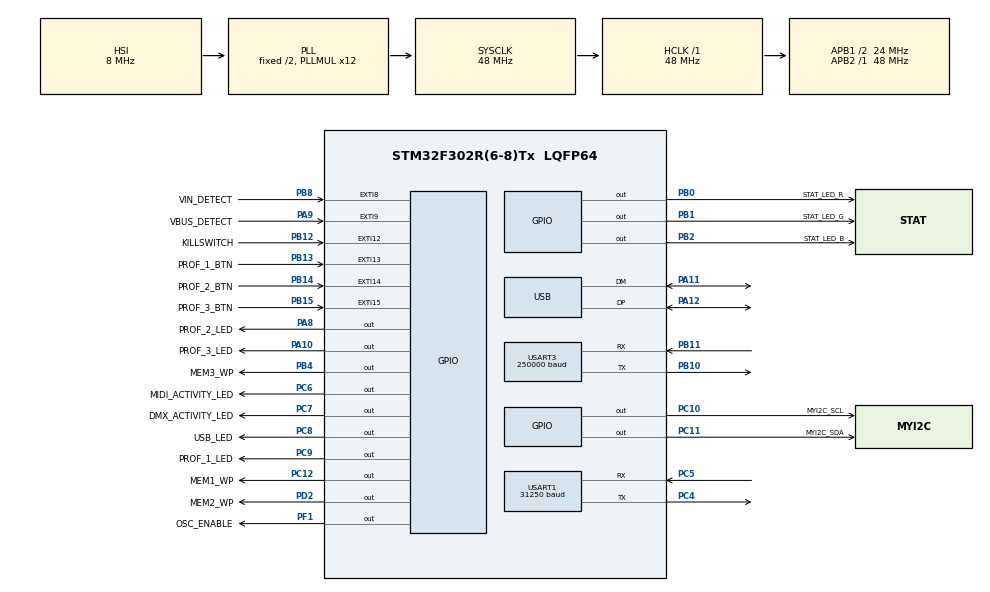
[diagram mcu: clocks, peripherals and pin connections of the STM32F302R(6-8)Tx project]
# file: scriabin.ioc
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Dma.Request0=USART3_TX
Dma.USART3_TX.0.Direction=DMA_MEMORY_TO_PERIPH
Dma.USART3_TX.0.Instance=DMA1_Channel2
Dma.USART3_TX.0.MemDataAlignment=DMA_MDATAALIGN_BYTE
Dma.USART3_TX.0.MemInc=DMA_MINC_ENABLE
Dma.USART3_TX.0.Mode=DMA_NORMAL
Dma.USART3_TX.0.PeriphDataAlignment=DMA_PDATAALIGN_BYTE
Dma.USART3_TX.0.PeriphInc=DMA_PINC_DISABLE
Dma.USART3_TX.0.Priority=DMA_PRIORITY_LOW
Mcu.Family=STM32F3
Mcu.Name=STM32F302R(6-8)Tx
Mcu.Package=LQFP64
NVIC.DMA1_Channel2_IRQn=true\:12\:0\:true\:false\:true\:false\:true\:true
NVIC.EXTI15_10_IRQn=true\:0\:0\:false\:false\:true\:true\:true\:true
NVIC.PriorityGroup=NVIC_PRIORITYGROUP_4
NVIC.TIM1_TRG_COM_TIM17_IRQn=true\:0\:0\:false\:false\:true\:true\:true\:true
NVIC.TIM1_UP_TIM16_IRQn=true\:15\:0\:true\:false\:true\:true\:true\:true
NVIC.USART1_IRQn=true\:0\:0\:false\:false\:true\:true\:true\:true
NVIC.USART3_IRQn=true\:0\:0\:true\:false\:true\:true\:true\:true
NVIC.USB_HP_CAN_TX_IRQn=true\:0\:0\:false\:false\:true\:true\:true\:true
NVIC.USB_LP_CAN_RX0_IRQn=true\:0\:0\:false\:false\:true\:false\:true\:true
PA10.GPIO_Label=PROF_3_LED
PA10.Signal=GPIO_Output
PA11.Mode=Device
PA11.Signal=USB_DM
PA12.Mode=Device
PA12.Signal=USB_DP
PA13.GPIO_Label=TMS
PA13.Mode=Serial_Wire
PA13.Signal=SYS_JTMS-SWDIO
PA14.GPIO_Label=TCK
PA14.Mode=Serial_Wire
PA14.Signal=SYS_JTCK-SWCLK
PA2.GPIO_Mode=GPIO_MODE_AF_PP
PA2.GPIO_PuPd=GPIO_NOPULL
PA2.GPIO_Speed=GPIO_SPEED_FREQ_HIGH
PA2.Signal=USART2_TX
PA3.GPIO_Mode=GPIO_MODE_AF_PP
PA3.GPIO_PuPd=GPIO_NOPULL
PA3.GPIO_Speed=GPIO_SPEED_FREQ_HIGH
PA3.Signal=USART2_RX
PA8.GPIO_Label=PROF_2_LED
PA8.Signal=GPIO_Output
PA9.GPIO_Label=VBUS_DETECT
PA9.GPIO_ModeDefaultEXTI=GPIO_MODE_IT_RISING_FALLING
PA9.Signal=GPXTI9
PB0.GPIO_Label=STAT_LED_R
PB0.PinState=GPIO_PIN_SET
PB0.Signal=GPIO_Output
PB1.GPIO_Label=STAT_LED_G
PB1.PinState=GPIO_PIN_SET
PB1.Signal=GPIO_Output
PB10.GPIO_ModeDefaultPP=GPIO_MODE_AF_PP
PB10.Mode=Asynchronous
PB10.Signal=USART3_TX
PB11.Mode=Asynchronous
PB11.Signal=USART3_RX
PB12.GPIO_Label=KILLSWITCH
PB12.GPIO_ModeDefaultEXTI=GPIO_MODE_IT_RISING_FALLING
PB12.Signal=GPXTI12
PB13.GPIO_Label=PROF_1_BTN
PB13.Signal=GPXTI13
PB14.GPIO_Label=PROF_2_BTN
PB14.Signal=GPXTI14
PB15.GPIO_Label=PROF_3_BTN
PB15.Signal=GPXTI15
PB2.GPIO_Label=STAT_LED_B
PB2.PinState=GPIO_PIN_SET
PB2.Signal=GPIO_Output
PB3.GPIO_Label=SWO
PB3.Mode=Trace_Asynchronous_SW
PB3.Signal=SYS_JTDO-TRACESWO
PB4.GPIO_Label=MEM3_WP
PB4.Signal=GPIO_Output
PB8.GPIO_Label=VIN_DETECT
PB8.Signal=GPXTI8
PC10.GPIO_Label=MYI2C_SCL
PC10.GPIO_ModeDefaultOutputPP=GPIO_MODE_OUTPUT_OD
PC10.GPIO_PuPd=GPIO_PULLUP
PC10.GPIO_Speed=GPIO_SPEED_FREQ_HIGH
PC10.Signal=GPIO_Output
PC11.GPIO_Label=MYI2C_SDA
PC11.GPIO_ModeDefaultOutputPP=GPIO_MODE_OUTPUT_OD
PC11.GPIO_PuPd=GPIO_PULLUP
PC11.GPIO_Speed=GPIO_SPEED_FREQ_HIGH
PC11.Signal=GPIO_Output
PC12.GPIO_Label=MEM1_WP
PC12.Signal=GPIO_Output
PC14\ -\ OSC32_IN.Signal=RCC_OSC32_IN
PC15\ -\ OSC32_OUT.Signal=RCC_OSC32_OUT
PC4.Mode=Asynchronous
PC4.Signal=USART1_TX
PC5.Mode=Asynchronous
PC5.Signal=USART1_RX
PC6.GPIO_Label=MIDI_ACTIVITY_LED
PC6.Signal=GPIO_Output
PC7.GPIO_Label=DMX_ACTIVITY_LED
PC7.Signal=GPIO_Output
PC8.GPIO_Label=USB_LED
PC8.Signal=GPIO_Output
PC9.GPIO_Label=PROF_1_LED
PC9.Signal=GPIO_Output
PD2.GPIO_Label=MEM2_WP
PD2.Signal=GPIO_Output
PF0-OSC_IN.Signal=RCC_OSC_IN
PF1-OSC_OUT.GPIO_Label=OSC_ENABLE
PF1-OSC_OUT.PinState=GPIO_PIN_SET
PF1-OSC_OUT.Signal=GPIO_Output
ProjectManager.HeapSize=0x200
ProjectManager.StackSize=0x400
ProjectManager.TargetToolchain=STM32CubeIDE
RCC.AHBFreq_Value=48000000
RCC.APB1CLKDivider=RCC_HCLK_DIV2
RCC.APB1Freq_Value=24000000
RCC.APB1TimFreq_Value=48000000
RCC.APB2Freq_Value=48000000
RCC.APB2TimFreq_Value=48000000
RCC.CortexFreq_Value=48000000
RCC.HCLKFreq_Value=48000000
RCC.HSE_VALUE=8000000
RCC.HSI_VALUE=8000000
RCC.LSE_VALUE=32768
RCC.PLLM=8
RCC.PLLMUL=RCC_PLL_MUL12
RCC.PLLN=336
RCC.PLLP=RCC_PLLP_DIV4
RCC.PLLQ=7
RCC.PLLSource=RCC_PLLSOURCE_HSI
RCC.PLLSourceVirtualString=RCC_PLLSOURCE_HSI
RCC.SYSCLKFreq_VALUE=48000000
RCC.SYSCLKSourceVirtual=RCC_SYSCLKSOURCE_PLLCLK
RCC.USBFreq_Value=48000000
TIM16.Prescaler=71
TIM17.Prescaler=71
USART1.BaudRate=31250
USART1.Mode=MODE_RX
USART1.OverSampling=UART_OVERSAMPLING_8
USART1.VirtualMode-Asynchronous=VM_ASYNC
USART3.BaudRate=250000
USART3.Mode=MODE_TX
USART3.OverSampling=UART_OVERSAMPLING_8
USART3.StopBits=STOPBITS_2
USART3.VirtualMode-Asynchronous=VM_ASYNC
USB_DEVICE.APP_RX_DATA_SIZE=256
USB_DEVICE.APP_TX_DATA_SIZE=256
USB_DEVICE.CLASS_NAME_FS=CDC
USB_DEVICE.MANUFACTURER_STRING=STMicroelectronics / Patrik Hajd\u00FAch
USB_DEVICE.PRODUCT_STRING_CDC_FS=Scriabin v0.1 Virtual ComPort
USB_DEVICE.VirtualMode=Cdc
USB_DEVICE.VirtualModeFS=Cdc_FS
VP_TIM16_VS_ClockSourceINT.Mode=Enable_Timer
VP_TIM17_VS_ClockSourceINT.Mode=Enable_Timer
VP_USB_DEVICE_VS_USB_DEVICE_CDC_FS.Mode=CDC_FS
board=NUCLEO-F302R8

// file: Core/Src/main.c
/* USER CODE BEGIN Header */
/**
 ******************************************************************************
 * @file           : main.c
 * @brief          : Main program body
 ******************************************************************************
 * @attention
 *
 * Copyright (c) 2025 STMicroelectronics.
 * All rights reserved.
 *
 * This software is licensed under terms that can be found in the LICENSE file
 * in the root directory of this software component.
 * If no LICENSE file comes with this software, it is provided AS-IS.
 *
 ******************************************************************************
 */
/* USER CODE END Header */
#include "main.h"

/* USER CODE BEGIN Includes */
#include "dmx.h"
#include "midi.h"
#include "mapClient.h"
#include "myI2C.h"
#include "usbd_cdc_if.h"
#include "usb_device.h"
#include "usbAppClient.h"
#include "timeoutManager.h"
/* USER CODE END Includes */

TIM_HandleTypeDef htim16;
TIM_HandleTypeDef htim17;

UART_HandleTypeDef huart1;
UART_HandleTypeDef huart3;
DMA_HandleTypeDef hdma_usart3_tx;

/* USER CODE BEGIN PV */
static mainState_t mainState;

extern USBD_CDC_HandleTypeDef husb1;

uint8_t activeProfile;

static pinStruct_t profileLedPins[N_PROFILES] = {
		{ PROF_1_LED_GPIO_Port, PROF_1_LED_Pin },
		{ PROF_2_LED_GPIO_Port, PROF_2_LED_Pin },
		{ PROF_3_LED_GPIO_Port, PROF_3_LED_Pin }
};

static uint32_t midiIndicatorTimeout;
static uint32_t dmxIndicatorTimeout;
/* USER CODE END PV */

void SystemClock_Config(void);
static void MX_GPIO_Init(void);
static void MX_DMA_Init(void);
static void MX_USART3_UART_Init(void);
static void MX_USART1_UART_Init(void);
static void MX_TIM16_Init(void);
static void MX_TIM17_Init(void);

/* USER CODE BEGIN 0 */
void midiIndicatorOn() {
	midiIndicatorTimeout = HAL_GetTick() + INDICATOR_DURATION;
	HAL_GPIO_WritePin(MIDI_ACTIVITY_LED_GPIO_Port, MIDI_ACTIVITY_LED_Pin, GPIO_PIN_SET);
}

void dmxIndicatorOn() {
	dmxIndicatorTimeout = HAL_GetTick() + INDICATOR_DURATION;
	HAL_GPIO_WritePin(DMX_ACTIVITY_LED_GPIO_Port, DMX_ACTIVITY_LED_Pin, GPIO_PIN_SET);
}

static void indicatorsTimeout() {
	if (HAL_GetTick() >= midiIndicatorTimeout) HAL_GPIO_WritePin(MIDI_ACTIVITY_LED_GPIO_Port, MIDI_ACTIVITY_LED_Pin, GPIO_PIN_RESET);
	if (HAL_GetTick() >= dmxIndicatorTimeout) HAL_GPIO_WritePin(DMX_ACTIVITY_LED_GPIO_Port, DMX_ACTIVITY_LED_Pin, GPIO_PIN_RESET);
}

void setProfile(uint8_t p) {
	activeProfile = p;
	for (uint8_t i = 0; i < N_PROFILES; i++) {
		HAL_GPIO_WritePin(profileLedPins[i].port, profileLedPins[i].pin, p == i ? GPIO_PIN_SET : GPIO_PIN_RESET);
	}
	USB_TX_Profile_Event(p);
}

void setState(mainState_t state) {
	if (mainState == state) return;
	mainState = state;
	switch (mainState) {
	case STATE_BROKEN:
		dmxOff();
		midiReceiveOff();
		HAL_GPIO_WritePin(STAT_LED_R_GPIO_Port, STAT_LED_R_Pin, GPIO_PIN_RESET);
		HAL_GPIO_WritePin(STAT_LED_G_GPIO_Port, STAT_LED_G_Pin, GPIO_PIN_SET);
		HAL_GPIO_WritePin(STAT_LED_B_GPIO_Port, STAT_LED_B_Pin, GPIO_PIN_SET);
		Error_Handler();
		break;
	case STATE_WORKING:
		HAL_GPIO_WritePin(STAT_LED_R_GPIO_Port, STAT_LED_R_Pin, GPIO_PIN_SET);
		HAL_GPIO_WritePin(STAT_LED_G_GPIO_Port, STAT_LED_G_Pin, GPIO_PIN_RESET);
		HAL_GPIO_WritePin(STAT_LED_B_GPIO_Port, STAT_LED_B_Pin, GPIO_PIN_SET);
		dmxOn();
		midiReceiveOn();
		break;
	case STATE_UPLOAD:
		dmxOff();
		midiReceiveOff();
		HAL_GPIO_WritePin(STAT_LED_R_GPIO_Port, STAT_LED_R_Pin, GPIO_PIN_SET);
		HAL_GPIO_WritePin(STAT_LED_G_GPIO_Port, STAT_LED_G_Pin, GPIO_PIN_SET);
		HAL_GPIO_WritePin(STAT_LED_B_GPIO_Port, STAT_LED_B_Pin, GPIO_PIN_RESET);
		break;
	}
}

mainState_t getState() {
	return mainState;
}

void HAL_I2C_MemRxCpltCallback(I2C_HandleTypeDef *hi2c) {
	switch (mainState) {
	case STATE_UPLOAD:
		map_Upl_MemRxCpltCallback(hi2c->State == HAL_I2C_STATE_READY ? I2C_OK : I2C_ERR);
		break;
	case STATE_WORKING:
		map_MemRxCpltCallback(hi2c->State == HAL_I2C_STATE_READY ? I2C_OK : I2C_ERR);
		break;
	default:
		break;
	}
}

void HAL_TIM_PeriodElapsedCallback(TIM_HandleTypeDef* htim) { // po vyprseni casovace
	if (htim == &htim17) myI2C_TimerElapsedCallback();
	if (htim == &htim16) dmxTimerElapsedCallback();
}

void HAL_GPIO_EXTI_Callback(uint16_t GPIO_Pin) {
	static uint32_t killswitchLastPressed = 0;
	static uint32_t profile1LastPressed = 0;
	static uint32_t profile2LastPressed = 0;
	static uint32_t profile3LastPressed = 0;
	uint32_t currentTime = HAL_GetTick();
	switch (GPIO_Pin) {
	case KILLSWITCH_Pin:
		if (killswitchLastPressed + BUTTON_DEBOUNCE_DURATION > currentTime) return;
		if ((KILLSWITCH_GPIO_Port->IDR & KILLSWITCH_Pin) == 0) {
			if (killswitchLastPressed + BUTTON_HOLD_THRESHOLD > currentTime) {
				dmxZero();
			} else {
				dmxToggleOnOff();
			}
		}
		killswitchLastPressed = currentTime;
		break;
	case PROF_1_BTN_Pin:
		if (profile1LastPressed + BUTTON_DEBOUNCE_DURATION > currentTime) return;
		profile1LastPressed = currentTime;
		setProfile(0);
		break;
	case PROF_2_BTN_Pin:
		if (profile2LastPressed + BUTTON_DEBOUNCE_DURATION > currentTime) return;
		profile2LastPressed = currentTime;
		setProfile(1);
		break;
	case PROF_3_BTN_Pin:
		if (profile3LastPressed + BUTTON_DEBOUNCE_DURATION > currentTime) return;
		profile3LastPressed = currentTime;
		setProfile(2);
	}
}

void noteOnAsyncStart(uint8_t channel, uint8_t pitch, uint8_t velocity) {
	map_EnqueueMidiHandling(activeProfile, NOTE_ON, channel, pitch, velocity);
}

void noteOffAsyncStart(uint8_t channel, uint8_t pitch, uint8_t velocity) {
	map_EnqueueMidiHandling(activeProfile, NOTE_OFF, channel, pitch, velocity);
}

void controlChangeAsyncStart(uint8_t channel, uint8_t controller, uint8_t value) {
	map_EnqueueMidiHandling(activeProfile, CONTROL_CHANGE, channel, controller, value);
}

/* USER CODE END 0 */

int main(void)
{

  /* MCU Configuration--------------------------------------------------------*/

  /* Reset of all peripherals, Initializes the Flash interface and the Systick. */
  HAL_Init();

  /* Configure the system clock */
  SystemClock_Config();

  /* Initialize all configured peripherals */
  MX_GPIO_Init();
  MX_DMA_Init();
  MX_USART3_UART_Init();
  MX_USART1_UART_Init();
  MX_TIM16_Init();
  MX_TIM17_Init();
  /* USER CODE BEGIN 2 */
	//i2cComms_init(&hi2c1);
	timeoutManagerInit();
	setProfile(0);
	mainState = STATE_WORKING;
	pinStruct_t myI2C_sdaStruct = {
		.port = MYI2C_SDA_GPIO_Port,
		.pin = MYI2C_SDA_Pin
	};
	pinStruct_t myI2C_sclStruct = {
		.port = MYI2C_SCL_GPIO_Port,
		.pin = MYI2C_SCL_Pin
	};

	myI2C_Init(myI2C_sdaStruct, myI2C_sclStruct, &htim17);
	HAL_TIM_Base_Start(&htim17);
	dmxInit(&huart3, &htim16, 512, 0x00);
#ifdef USING_IT_MIDI
	midiInit(&huart1);
#elif defined USING_DMA_MIDI
	midiInit(&huart1, &hdma_usart1_rx);
#endif
	setNoteOnHandler(noteOnAsyncStart);
	setNoteOffHandler(noteOffAsyncStart);
	setControlChangeHandler(controlChangeAsyncStart);
	map_DualVelocityQueueInit();
	MX_USB_DEVICE_Init();

	HAL_GPIO_WritePin(STAT_LED_R_GPIO_Port, STAT_LED_R_Pin, GPIO_PIN_SET);
	HAL_GPIO_WritePin(STAT_LED_G_GPIO_Port, STAT_LED_G_Pin, GPIO_PIN_RESET);
	HAL_GPIO_WritePin(STAT_LED_B_GPIO_Port, STAT_LED_B_Pin, GPIO_PIN_SET);
	midiReceiveOn();
	dmxOn();
  /* USER CODE END 2 */

  /* Infinite loop */
  /* USER CODE BEGIN WHILE */
	for (;;)
	{
		indicatorsTimeout();
		if (USB_hasUnhandledData()) USB_HandleIncoming();
		switch (mainState) {
		case STATE_WORKING:
			readMidi(); // parsovani midi zprav
			map_StepMidiHandling(); // zpracovavani midi requestu
			checkForTimeouts(); // kontrola timeoutu
			break;
		case STATE_UPLOAD:
			map_StepUpload();
			break;
		case STATE_BROKEN:
			break;
		}
	}
    /* USER CODE END WHILE */

}

void SystemClock_Config(void)
{
  RCC_OscInitTypeDef RCC_OscInitStruct = {0};
  RCC_ClkInitTypeDef RCC_ClkInitStruct = {0};
  RCC_PeriphCLKInitTypeDef PeriphClkInit = {0};

  /** Initializes the RCC Oscillators according to the specified parameters
  * in the RCC_OscInitTypeDef structure.
  */
  RCC_OscInitStruct.OscillatorType = RCC_OSCILLATORTYPE_HSI;
  RCC_OscInitStruct.HSIState = RCC_HSI_ON;
  RCC_OscInitStruct.HSICalibrationValue = RCC_HSICALIBRATION_DEFAULT;
  RCC_OscInitStruct.PLL.PLLState = RCC_PLL_ON;
  RCC_OscInitStruct.PLL.PLLSource = RCC_PLLSOURCE_HSI;
  RCC_OscInitStruct.PLL.PLLMUL = RCC_PLL_MUL12;
  if (HAL_RCC_OscConfig(&RCC_OscInitStruct) != HAL_OK)
  {
    Error_Handler();
  }

  /** Initializes the CPU, AHB and APB buses clocks
  */
  RCC_ClkInitStruct.ClockType = RCC_CLOCKTYPE_HCLK|RCC_CLOCKTYPE_SYSCLK
                              |RCC_CLOCKTYPE_PCLK1|RCC_CLOCKTYPE_PCLK2;
  RCC_ClkInitStruct.SYSCLKSource = RCC_SYSCLKSOURCE_PLLCLK;
  RCC_ClkInitStruct.AHBCLKDivider = RCC_SYSCLK_DIV1;
  RCC_ClkInitStruct.APB1CLKDivider = RCC_HCLK_DIV2;
  RCC_ClkInitStruct.APB2CLKDivider = RCC_HCLK_DIV1;

  if (HAL_RCC_ClockConfig(&RCC_ClkInitStruct, FLASH_LATENCY_1) != HAL_OK)
  {
    Error_Handler();
  }
  PeriphClkInit.PeriphClockSelection = RCC_PERIPHCLK_USB|RCC_PERIPHCLK_USART1
                              |RCC_PERIPHCLK_TIM16|RCC_PERIPHCLK_TIM17;
  PeriphClkInit.Usart1ClockSelection = RCC_USART1CLKSOURCE_PCLK1;
  PeriphClkInit.USBClockSelection = RCC_USBCLKSOURCE_PLL;
  PeriphClkInit.Tim16ClockSelection = RCC_TIM16CLK_HCLK;
  PeriphClkInit.Tim17ClockSelection = RCC_TIM17CLK_HCLK;
  if (HAL_RCCEx_PeriphCLKConfig(&PeriphClkInit) != HAL_OK)
  {
    Error_Handler();
  }
}

static void MX_TIM16_Init(void)
{

  htim16.Instance = TIM16;
  htim16.Init.Prescaler = 71;
  htim16.Init.CounterMode = TIM_COUNTERMODE_UP;
  htim16.Init.Period = 65535;
  htim16.Init.ClockDivision = TIM_CLOCKDIVISION_DIV1;
  htim16.Init.RepetitionCounter = 0;
  htim16.Init.AutoReloadPreload = TIM_AUTORELOAD_PRELOAD_DISABLE;
  if (HAL_TIM_Base_Init(&htim16) != HAL_OK)
  {
    Error_Handler();
  }

}

static void MX_TIM17_Init(void)
{

  htim17.Instance = TIM17;
  htim17.Init.Prescaler = 71;
  htim17.Init.CounterMode = TIM_COUNTERMODE_UP;
  htim17.Init.Period = 65535;
  htim17.Init.ClockDivision = TIM_CLOCKDIVISION_DIV1;
  htim17.Init.RepetitionCounter = 0;
  htim17.Init.AutoReloadPreload = TIM_AUTORELOAD_PRELOAD_DISABLE;
  if (HAL_TIM_Base_Init(&htim17) != HAL_OK)
  {
    Error_Handler();
  }

}

static void MX_USART1_UART_Init(void)
{

  huart1.Instance = USART1;
  huart1.Init.BaudRate = 31250;
  huart1.Init.WordLength = UART_WORDLENGTH_8B;
  huart1.Init.StopBits = UART_STOPBITS_1;
  huart1.Init.Parity = UART_PARITY_NONE;
  huart1.Init.Mode = UART_MODE_RX;
  huart1.Init.HwFlowCtl = UART_HWCONTROL_NONE;
  huart1.Init.OverSampling = UART_OVERSAMPLING_8;
  huart1.Init.OneBitSampling = UART_ONE_BIT_SAMPLE_DISABLE;
  huart1.AdvancedInit.AdvFeatureInit = UART_ADVFEATURE_NO_INIT;
  if (HAL_UART_Init(&huart1) != HAL_OK)
  {
    Error_Handler();
  }

}

static void MX_USART3_UART_Init(void)
{

  huart3.Instance = USART3;
  huart3.Init.BaudRate = 250000;
  huart3.Init.WordLength = UART_WORDLENGTH_8B;
  huart3.Init.StopBits = UART_STOPBITS_2;
  huart3.Init.Parity = UART_PARITY_NONE;
  huart3.Init.Mode = UART_MODE_TX;
  huart3.Init.HwFlowCtl = UART_HWCONTROL_NONE;
  huart3.Init.OverSampling = UART_OVERSAMPLING_8;
  huart3.Init.OneBitSampling = UART_ONE_BIT_SAMPLE_DISABLE;
  huart3.AdvancedInit.AdvFeatureInit = UART_ADVFEATURE_NO_INIT;
  if (HAL_UART_Init(&huart3) != HAL_OK)
  {
    Error_Handler();
  }

}

static void MX_DMA_Init(void)
{

  /* DMA controller clock enable */
  __HAL_RCC_DMA1_CLK_ENABLE();

  /* DMA interrupt init */
  /* DMA1_Channel2_IRQn interrupt configuration */
  HAL_NVIC_SetPriority(DMA1_Channel2_IRQn, 12, 0);
  HAL_NVIC_EnableIRQ(DMA1_Channel2_IRQn);

}

static void MX_GPIO_Init(void)
{
  GPIO_InitTypeDef GPIO_InitStruct = {0};

  /* GPIO Ports Clock Enable */
  __HAL_RCC_GPIOC_CLK_ENABLE();
  __HAL_RCC_GPIOF_CLK_ENABLE();
  __HAL_RCC_GPIOA_CLK_ENABLE();
  __HAL_RCC_GPIOB_CLK_ENABLE();
  __HAL_RCC_GPIOD_CLK_ENABLE();

  /*Configure GPIO pin Output Level */
  HAL_GPIO_WritePin(OSC_ENABLE_GPIO_Port, OSC_ENABLE_Pin, GPIO_PIN_SET);

  /*Configure GPIO pin Output Level */
  HAL_GPIO_WritePin(GPIOB, STAT_LED_R_Pin|STAT_LED_G_Pin|STAT_LED_B_Pin, GPIO_PIN_SET);

  /*Configure GPIO pin Output Level */
  HAL_GPIO_WritePin(GPIOC, MIDI_ACTIVITY_LED_Pin|DMX_ACTIVITY_LED_Pin|USB_LED_Pin|PROF_1_LED_Pin
                          |MYI2C_SCL_Pin|MYI2C_SDA_Pin|MEM1_WP_Pin, GPIO_PIN_RESET);

  /*Configure GPIO pin Output Level */
  HAL_GPIO_WritePin(GPIOA, PROF_2_LED_Pin|PROF_3_LED_Pin, GPIO_PIN_RESET);

  /*Configure GPIO pin Output Level */
  HAL_GPIO_WritePin(MEM2_WP_GPIO_Port, MEM2_WP_Pin, GPIO_PIN_RESET);

  /*Configure GPIO pin Output Level */
  HAL_GPIO_WritePin(MEM3_WP_GPIO_Port, MEM3_WP_Pin, GPIO_PIN_RESET);

  /*Configure GPIO pin : OSC_ENABLE_Pin */
  GPIO_InitStruct.Pin = OSC_ENABLE_Pin;
  GPIO_InitStruct.Mode = GPIO_MODE_OUTPUT_PP;
  GPIO_InitStruct.Pull = GPIO_NOPULL;
  GPIO_InitStruct.Speed = GPIO_SPEED_FREQ_LOW;
  HAL_GPIO_Init(OSC_ENABLE_GPIO_Port, &GPIO_InitStruct);

  /*Configure GPIO pins : PA2 PA3 */
  GPIO_InitStruct.Pin = GPIO_PIN_2|GPIO_PIN_3;
  GPIO_InitStruct.Mode = GPIO_MODE_AF_PP;
  GPIO_InitStruct.Pull = GPIO_NOPULL;
  GPIO_InitStruct.Speed = GPIO_SPEED_FREQ_HIGH;
  GPIO_InitStruct.Alternate = GPIO_AF7_USART2;
  HAL_GPIO_Init(GPIOA, &GPIO_InitStruct);

  /*Configure GPIO pins : STAT_LED_R_Pin STAT_LED_G_Pin STAT_LED_B_Pin MEM3_WP_Pin */
  GPIO_InitStruct.Pin = STAT_LED_R_Pin|STAT_LED_G_Pin|STAT_LED_B_Pin|MEM3_WP_Pin;
  GPIO_InitStruct.Mode = GPIO_MODE_OUTPUT_PP;
  GPIO_InitStruct.Pull = GPIO_NOPULL;
  GPIO_InitStruct.Speed = GPIO_SPEED_FREQ_LOW;
  HAL_GPIO_Init(GPIOB, &GPIO_InitStruct);

  /*Configure GPIO pin : KILLSWITCH_Pin */
  GPIO_InitStruct.Pin = KILLSWITCH_Pin;
  GPIO_InitStruct.Mode = GPIO_MODE_IT_RISING_FALLING;
  GPIO_InitStruct.Pull = GPIO_NOPULL;
  HAL_GPIO_Init(KILLSWITCH_GPIO_Port, &GPIO_InitStruct);

  /*Configure GPIO pins : PROF_1_BTN_Pin PROF_2_BTN_Pin PROF_3_BTN_Pin VIN_DETECT_Pin */
  GPIO_InitStruct.Pin = PROF_1_BTN_Pin|PROF_2_BTN_Pin|PROF_3_BTN_Pin|VIN_DETECT_Pin;
  GPIO_InitStruct.Mode = GPIO_MODE_IT_RISING;
  GPIO_InitStruct.Pull = GPIO_NOPULL;
  HAL_GPIO_Init(GPIOB, &GPIO_InitStruct);

  /*Configure GPIO pins : MIDI_ACTIVITY_LED_Pin DMX_ACTIVITY_LED_Pin USB_LED_Pin PROF_1_LED_Pin
                           MEM1_WP_Pin */
  GPIO_InitStruct.Pin = MIDI_ACTIVITY_LED_Pin|DMX_ACTIVITY_LED_Pin|USB_LED_Pin|PROF_1_LED_Pin
                          |MEM1_WP_Pin;
  GPIO_InitStruct.Mode = GPIO_MODE_OUTPUT_PP;
  GPIO_InitStruct.Pull = GPIO_NOPULL;
  GPIO_InitStruct.Speed = GPIO_SPEED_FREQ_LOW;
  HAL_GPIO_Init(GPIOC, &GPIO_InitStruct);

  /*Configure GPIO pins : PROF_2_LED_Pin PROF_3_LED_Pin */
  GPIO_InitStruct.Pin = PROF_2_LED_Pin|PROF_3_LED_Pin;
  GPIO_InitStruct.Mode = GPIO_MODE_OUTPUT_PP;
  GPIO_InitStruct.Pull = GPIO_NOPULL;
  GPIO_InitStruct.Speed = GPIO_SPEED_FREQ_LOW;
  HAL_GPIO_Init(GPIOA, &GPIO_InitStruct);

  /*Configure GPIO pin : VBUS_DETECT_Pin */
  GPIO_InitStruct.Pin = VBUS_DETECT_Pin;
  GPIO_InitStruct.Mode = GPIO_MODE_IT_RISING_FALLING;
  GPIO_InitStruct.Pull = GPIO_NOPULL;
  HAL_GPIO_Init(VBUS_DETECT_GPIO_Port, &GPIO_InitStruct);

  /*Configure GPIO pins : MYI2C_SCL_Pin MYI2C_SDA_Pin */
  GPIO_InitStruct.Pin = MYI2C_SCL_Pin|MYI2C_SDA_Pin;
  GPIO_InitStruct.Mode = GPIO_MODE_OUTPUT_OD;
  GPIO_InitStruct.Pull = GPIO_PULLUP;
  GPIO_InitStruct.Speed = GPIO_SPEED_FREQ_HIGH;
  HAL_GPIO_Init(GPIOC, &GPIO_InitStruct);

  /*Configure GPIO pin : MEM2_WP_Pin */
  GPIO_InitStruct.Pin = MEM2_WP_Pin;
  GPIO_InitStruct.Mode = GPIO_MODE_OUTPUT_PP;
  GPIO_InitStruct.Pull = GPIO_NOPULL;
  GPIO_InitStruct.Speed = GPIO_SPEED_FREQ_LOW;
  HAL_GPIO_Init(MEM2_WP_GPIO_Port, &GPIO_InitStruct);

  /* EXTI interrupt init*/
  HAL_NVIC_SetPriority(EXTI15_10_IRQn, 0, 0);
  HAL_NVIC_EnableIRQ(EXTI15_10_IRQn);

}

void Error_Handler(void)
{
	__disable_irq();
	while (1)
	{
	}
}
